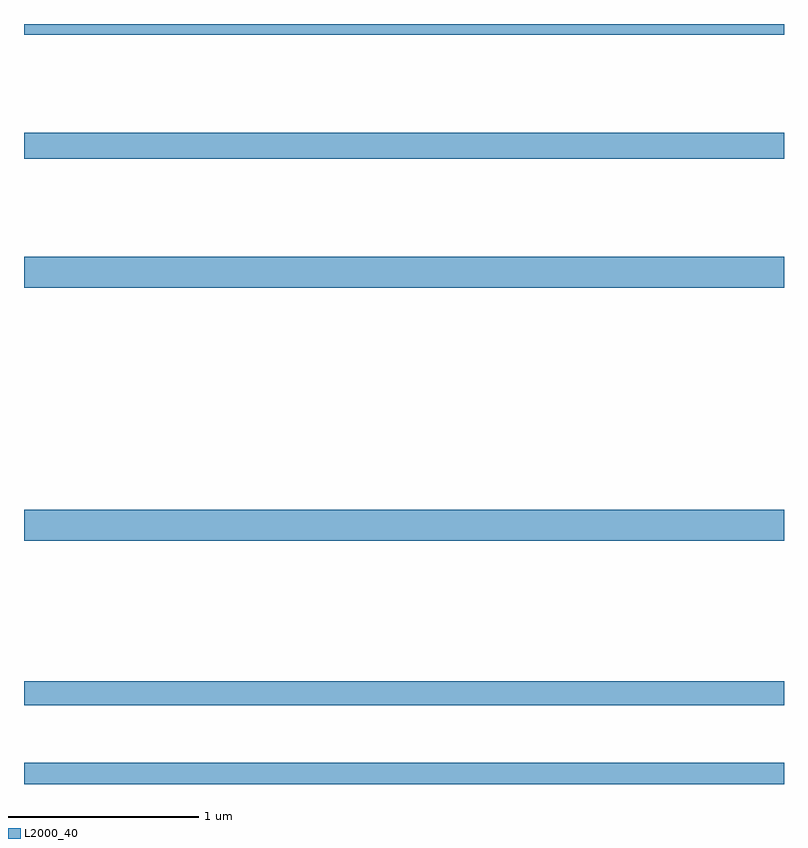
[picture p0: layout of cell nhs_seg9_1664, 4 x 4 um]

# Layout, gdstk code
import gdstk
lib = gdstk.Library(unit=1e-6, precision=1e-09)
def R(c, l, rs):  # rectangles x0, y0, x1, y1
    for r in rs: c.add(gdstk.rectangle(r[:2], r[2:], *l))
L2000_40 = (2000, 40)

nhs_seg9_1664 = lib.new_cell('nhs_seg9_1664')
R(nhs_seg9_1664, L2000_40, [(205,1168.5,209,1168.612), (205,1168.914,209,1169.042), (205,1169.78,209,1169.944), (205,1171.112,209,1171.276), (205,1171.792,209,1171.928), (205,1172.444,209,1172.5)])

lib.write_gds('nhs_seg9_1664.gds')
